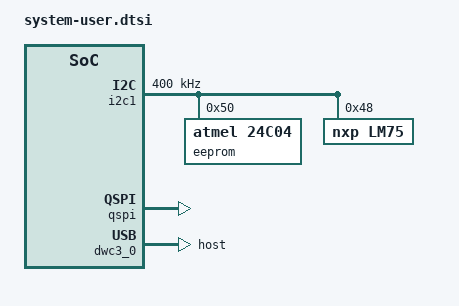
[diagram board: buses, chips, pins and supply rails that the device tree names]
/include/ "system-conf.dtsi"
/ {

};

&fan_gpio {
	xlnx,dout-default = <0x00000000>;
};

&i2c1 {
        clock-frequency = <400000>;
        eeprom@50{
                compatible = "atmel,24c04";
                reg = <0x50>;
                pagesize = <16>;
        };

        lm75@48 {
                compatible = "nxp,lm75";
                reg = <0x48>;
        };
};

&qspi {
        status = "okay";
};

&flash0 {
	is-dual = <0>;
	num-cs = <1>;
	spi-rx-bus-width = <4>;
        spi-tx-bus-width = <4>;
        compatible ="jedec,spi-nor";
        reg= <0x0>;
};

/* SD */
&sdhci1 {
	disable-wp;
	no-1-8-v;
};

/* USB  */
&dwc3_0 {
    status = "okay";
    dr_mode = "host";
};
